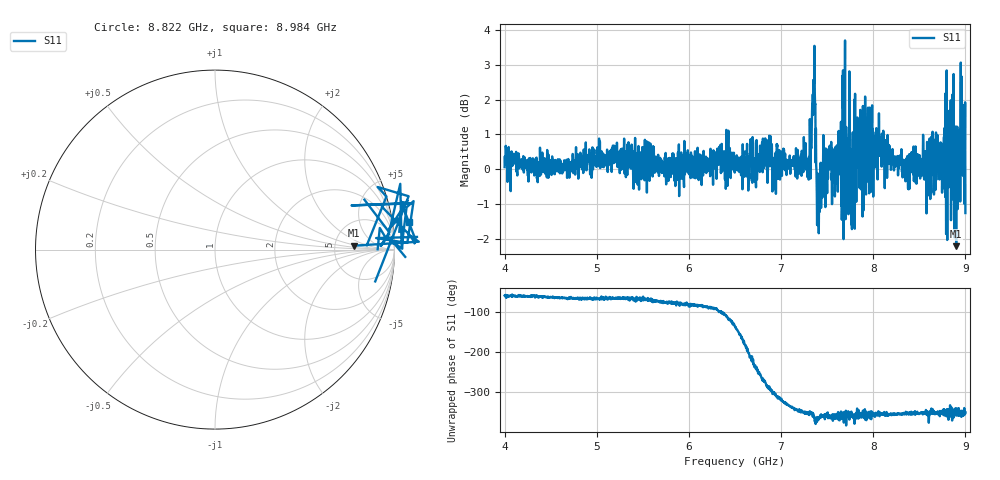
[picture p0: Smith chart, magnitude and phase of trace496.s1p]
! Created with skrf 1.8.0 (http://scikit-rf.org).
# Hz S RI R 50.0
!freq ReS11 ImS11
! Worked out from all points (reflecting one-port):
!   1601 points, 4 GHz to 9 GHz, reference 50 ohm
!   lowest |S11| = -2.2 dB at 8.9 GHz (marker M1), VSWR 7.96, Z = 393 + j43.5 ohm
!   phase of S11 starts at -59 deg and turns -291 deg over the sweep
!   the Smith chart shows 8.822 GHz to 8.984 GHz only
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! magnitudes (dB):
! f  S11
! 4 GHz  0.1
! 4.625 GHz  -0.1
! 5.25 GHz  -0.1
! 5.875 GHz  0.2
! 6.5 GHz  0.2
! 7.125 GHz  0.2
! 7.294 GHz  0.1
! 7.347 GHz  1.6
! 7.359 GHz  2.5
! 7.4 GHz  -0.1
! 7.412 GHz  -0.8
! 7.509 GHz  -0.3
! 7.638 GHz  0.5
! 7.65 GHz  1.4
! 7.669 GHz  1.8
! 7.75 GHz  0.3
! 7.784 GHz  -0.8
! 7.822 GHz  0.1
! 7.872 GHz  0.8
! 7.928 GHz  1.0
! 7.981 GHz  -0.6
! 8.088 GHz  0.4
! 8.375 GHz  -0.1
! 8.603 GHz  0.3
! 8.775 GHz  1.2
! 8.9 GHz  -2.2
! 8.972 GHz  0.4
! 9 GHz  -1.2
